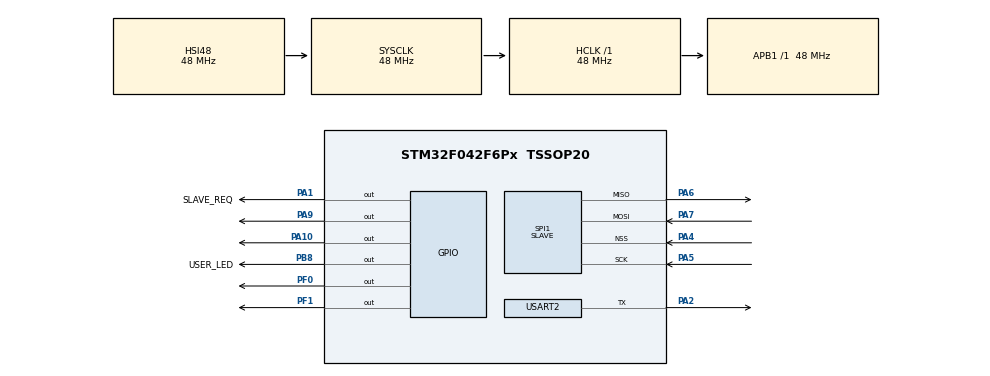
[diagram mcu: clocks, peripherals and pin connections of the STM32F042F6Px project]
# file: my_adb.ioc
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Mcu.Family=STM32F0
Mcu.Name=STM32F042F6Px
Mcu.Package=TSSOP20
NVIC.SPI1_IRQn=true\:0\:0\:false\:false\:true\:true
NVIC.TIM16_IRQn=true\:0\:0\:false\:false\:true\:true
NVIC.TIM17_IRQn=true\:3\:0\:true\:false\:true\:true
PA1.GPIO_Label=SLAVE_REQ
PA1.GPIO_ModeDefaultOutputPP=GPIO_MODE_OUTPUT_PP
PA1.Signal=GPIO_Output
PA10.Signal=GPIO_Output
PA13.Mode=Serial_Wire
PA13.Signal=SYS_SWDIO
PA14.Mode=Serial_Wire
PA14.Signal=SYS_SWCLK
PA2.Mode=Half_duplex(single_wire_mode)
PA2.Signal=USART2_TX
PA4.Mode=NSS_Signal_Hard_Input
PA4.Signal=SPI1_NSS
PA5.Mode=Full_Duplex_Slave
PA5.Signal=SPI1_SCK
PA6.Mode=Full_Duplex_Slave
PA6.Signal=SPI1_MISO
PA7.Mode=Full_Duplex_Slave
PA7.Signal=SPI1_MOSI
PA9.Signal=GPIO_Output
PB8.GPIO_Label=USER_LED
PB8.Signal=GPIO_Output
PF0-OSC_IN.Signal=GPIO_Output
PF1-OSC_OUT.Signal=GPIO_Output
ProjectManager.HeapSize=0x200
ProjectManager.StackSize=0x400
ProjectManager.TargetToolchain=MDK-ARM V5
RCC.AHBFreq_Value=48000000
RCC.APB1Freq_Value=48000000
RCC.APB1TimFreq_Value=48000000
RCC.HCLKFreq_Value=48000000
RCC.I2c1ClockSelection=RCC_I2C1CLKSOURCE_SYSCLK
RCC.SYSCLKFreq_VALUE=48000000
RCC.SYSCLKSource=RCC_SYSCLKSOURCE_HSI48
SPI1.DataSize=SPI_DATASIZE_8BIT
SPI1.Direction=SPI_DIRECTION_2LINES
SPI1.Mode=SPI_MODE_SLAVE
SPI1.VirtualNSS=VM_NSSHARD
SPI1.VirtualType=VM_SLAVE
TIM16.AutoReloadPreload=TIM_AUTORELOAD_PRELOAD_ENABLE
TIM16.Period=65535
TIM16.Prescaler=47
TIM17.Period=10000
TIM17.Prescaler=47
TIM2.Period=4294967295
TIM2.Prescaler=47
USART2.BaudRate=115200
USART2.Mode=MODE_TX
USART2.VirtualMode-Half_duplex(single_wire_mode)=VM_ASYNC
VP_TIM16_VS_ClockSourceINT.Mode=Enable_Timer
VP_TIM17_VS_ClockSourceINT.Mode=Enable_Timer
VP_TIM2_VS_ClockSourceINT.Mode=Internal
board=custom

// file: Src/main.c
/**
  ******************************************************************************
  * @file           : main.c
  * @brief          : Main program body
  ******************************************************************************
  ** This notice applies to any and all portions of this file
  * that are not between comment pairs USER CODE BEGIN and
  * USER CODE END. Other portions of this file, whether
  * inserted by the user or by software development tools
  * are owned by their respective copyright owners.
  *
  * COPYRIGHT(c) 2022 STMicroelectronics
  *
  * Redistribution and use in source and binary forms, with or without modification,
  * are permitted provided that the following conditions are met:
  *   1. Redistributions of source code must retain the above copyright notice,
  *      this list of conditions and the following disclaimer.
  *   2. Redistributions in binary form must reproduce the above copyright notice,
  *      this list of conditions and the following disclaimer in the documentation
  *      and/or other materials provided with the distribution.
  *   3. Neither the name of STMicroelectronics nor the names of its contributors
  *      may be used to endorse or promote products derived from this software
  *      without specific prior written permission.
  *
  * THIS SOFTWARE IS PROVIDED BY THE COPYRIGHT HOLDERS AND CONTRIBUTORS "AS IS"
  * AND ANY EXPRESS OR IMPLIED WARRANTIES, INCLUDING, BUT NOT LIMITED TO, THE
  * IMPLIED WARRANTIES OF MERCHANTABILITY AND FITNESS FOR A PARTICULAR PURPOSE ARE
  * DISCLAIMED. IN NO EVENT SHALL THE COPYRIGHT HOLDER OR CONTRIBUTORS BE LIABLE
  * FOR ANY DIRECT, INDIRECT, INCIDENTAL, SPECIAL, EXEMPLARY, OR CONSEQUENTIAL
  * DAMAGES (INCLUDING, BUT NOT LIMITED TO, PROCUREMENT OF SUBSTITUTE GOODS OR
  * SERVICES; LOSS OF USE, DATA, OR PROFITS; OR BUSINESS INTERRUPTION) HOWEVER
  * CAUSED AND ON ANY THEORY OF LIABILITY, WHETHER IN CONTRACT, STRICT LIABILITY,
  * OR TORT (INCLUDING NEGLIGENCE OR OTHERWISE) ARISING IN ANY WAY OUT OF THE USE
  * OF THIS SOFTWARE, EVEN IF ADVISED OF THE POSSIBILITY OF SUCH DAMAGE.
  *
  ******************************************************************************
  */
#include "main.h"
#include "stm32f0xx_hal.h"

/* USER CODE BEGIN Includes */
#include <string.h>
#include <stdlib.h>
#include "delay_us.h"
#include "shared.h"
#include "helpers.h"
#include "quad_encoder.h"

#define PROTOCOL_STATUS_NOT_AVAILABLE 0
#define PROTOCOL_STATUS_ENABLED 1
#define PROTOCOL_STATUS_DISABLED 2
#define PROTOCOL_LOOKUP_SIZE 16

#define IS_ADB_HOST_PRESENT() HAL_GPIO_ReadPin(ADB_5V_DET_GPIO_Port, ADB_5V_DET_Pin)

/* USER CODE END Includes */

SPI_HandleTypeDef hspi1;

TIM_HandleTypeDef htim2;
TIM_HandleTypeDef htim16;
TIM_HandleTypeDef htim17;

UART_HandleTypeDef huart2;

/* USER CODE BEGIN PV */
/* Private variables ---------------------------------------------------------*/
const uint8_t board_id = 2;
const uint8_t version_major = 0;
const uint8_t version_minor = 1;
const uint8_t version_patch = 1;
uint8_t hw_revision = 0;

uint8_t spi_transmit_buf[SPI_BUF_SIZE];
uint8_t spi_recv_buf[SPI_BUF_SIZE];
kb_buf my_kb_buf;
mouse_buf my_mouse_buf;
mouse_event latest_mouse_event;
uint8_t spi_error_occured;
uint8_t protocol_status_lookup[PROTOCOL_LOOKUP_SIZE];

/* USER CODE END PV */

void SystemClock_Config(void);
static void MX_GPIO_Init(void);
static void MX_SPI1_Init(void);
static void MX_USART2_UART_Init(void);
static void MX_TIM2_Init(void);
static void MX_TIM17_Init(void);
static void MX_TIM16_Init(void);

/* USER CODE BEGIN PFP */
/* Private function prototypes -----------------------------------------------*/

/* USER CODE END PFP */

/* USER CODE BEGIN 0 */
int fputc(int ch, FILE *f)
{
    HAL_UART_Transmit(&huart2, (unsigned char *)&ch, 1, 10);
    return ch;
}

uint8_t is_protocol_enabled(uint8_t this_protocol)
{
  if(this_protocol >= PROTOCOL_LOOKUP_SIZE)
    return 0;
  return protocol_status_lookup[this_protocol] == PROTOCOL_STATUS_ENABLED;
}

int16_t byte_to_int16_t(uint8_t lsb, uint8_t msb)
{
  return (int16_t)((msb << 8) | lsb);
}

void handle_protocol_switch(uint8_t spi_byte)
{
  uint8_t index = spi_byte & 0x7f;
  uint8_t onoff = spi_byte & 0x80;

  if(index >= PROTOCOL_LOOKUP_SIZE)
    return;
  // trying to change a protocol that is not available on this board
  if(protocol_status_lookup[index] == PROTOCOL_STATUS_NOT_AVAILABLE)
    return;
  // switching protocol ON
  if(onoff && protocol_status_lookup[index] == PROTOCOL_STATUS_DISABLED)
  {
    switch(index)
    {
      case PROTOCOL_ADB_KB:
        kb_buf_reset(&my_kb_buf);
        break;
      case PROTOCOL_ADB_MOUSE:
        mouse_buf_reset(&my_mouse_buf);
        break;
    }
    protocol_status_lookup[index] = PROTOCOL_STATUS_ENABLED;
  }
  // switching protocol OFF
  else if((onoff == 0) && protocol_status_lookup[index] == PROTOCOL_STATUS_ENABLED)
    protocol_status_lookup[index] = PROTOCOL_STATUS_DISABLED;
}

void parse_spi_buf(uint8_t* spibuf)
{
  if(spibuf[SPI_BUF_INDEX_MSG_TYPE] == SPI_MOSI_MSG_TYPE_MOUSE_EVENT)
  {
    latest_mouse_event.movement_x = byte_to_int16_t(spibuf[4], spibuf[5]);
    latest_mouse_event.movement_y = 1 * byte_to_int16_t(spibuf[6], spibuf[7]);
    latest_mouse_event.scroll_vertical = -1 * spibuf[8];
    latest_mouse_event.button_left = spibuf[13];
    latest_mouse_event.button_right = spibuf[14];
    latest_mouse_event.button_middle = spibuf[15];
    latest_mouse_event.button_side = spibuf[16];
    latest_mouse_event.button_extra = spibuf[17];
    mouse_buf_add(&my_mouse_buf, &latest_mouse_event);
  }
  else if(spibuf[SPI_BUF_INDEX_MSG_TYPE] == SPI_MOSI_MSG_TYPE_KEYBOARD_EVENT)
  {
    kb_buf_add(&my_kb_buf, spibuf[4], spibuf[6]);
  }
  else if(spibuf[SPI_BUF_INDEX_MSG_TYPE] == SPI_MOSI_MSG_TYPE_INFO_REQUEST)
  {
    memset(spi_transmit_buf, 0, SPI_BUF_SIZE);
    spi_transmit_buf[SPI_BUF_INDEX_MAGIC] = SPI_MISO_MAGIC;
    spi_transmit_buf[SPI_BUF_INDEX_SEQNUM] = spibuf[SPI_BUF_INDEX_SEQNUM];
    spi_transmit_buf[SPI_BUF_INDEX_MSG_TYPE] = SPI_MISO_MSG_TYPE_INFO_REQUEST;
    spi_transmit_buf[3] = board_id;
    spi_transmit_buf[4] = hw_revision;
    spi_transmit_buf[5] = version_major;
    spi_transmit_buf[6] = version_minor;
    spi_transmit_buf[7] = version_patch;
    uint8_t curr_index = 8;
    for (int i = 0; i < PROTOCOL_LOOKUP_SIZE; i++)
    {
      if(protocol_status_lookup[i] == PROTOCOL_STATUS_NOT_AVAILABLE)
        continue;
      else if(protocol_status_lookup[i] == PROTOCOL_STATUS_DISABLED)
        spi_transmit_buf[curr_index] = i;
      else if(protocol_status_lookup[i] == PROTOCOL_STATUS_ENABLED)
        spi_transmit_buf[curr_index] = i | 0x80;
      curr_index++;
    }
  }
  else if(spibuf[SPI_BUF_INDEX_MSG_TYPE] == SPI_MOSI_MSG_TYPE_SET_PROTOCOL)
  {
    for (int i = 3; i < SPI_BUF_SIZE; ++i)
    {
      if(spibuf[i] == 0)
        break;
      handle_protocol_switch(spibuf[i]);
    }
  }
}

/*
  a full rundown of this ISR takes around 30us, so if it comes in
  while reading or writing ADB message, it will mess up the timing

  solution: cache the data and return immediately, only takes around 6us,
  then process the data in main loop.
*/
void HAL_SPI_TxRxCpltCallback(SPI_HandleTypeDef *hspi)
{
  HAL_GPIO_WritePin(USER_LED_GPIO_Port, USER_LED_Pin, GPIO_PIN_SET);
  if(spi_recv_buf[0] != 0xde)
    spi_error_occured = 1;
  parse_spi_buf(spi_recv_buf);
  if(spi_recv_buf[SPI_BUF_INDEX_MSG_TYPE] == SPI_MOSI_MSG_TYPE_REQ_ACK)
    HAL_GPIO_WritePin(SLAVE_REQ_GPIO_Port, SLAVE_REQ_Pin, GPIO_PIN_RESET);
  HAL_SPI_TransmitReceive_IT(&hspi1, spi_transmit_buf, spi_recv_buf, SPI_BUF_SIZE);
  HAL_GPIO_WritePin(USER_LED_GPIO_Port, USER_LED_Pin, GPIO_PIN_RESET);
}

void spi_error_dump_reboot(void)
{
  printf("SPI ERROR\n");
  for (int i = 0; i < SPI_BUF_SIZE; ++i)
    printf("%d ", spi_recv_buf[i]);
  printf("\nrebooting...\n");
  for (int i = 0; i < 100; ++i)
  {
    HAL_GPIO_TogglePin(USER_LED_GPIO_Port, USER_LED_Pin);
    HAL_Delay(100);
  }
  NVIC_SystemReset();
}

const char boot_message[] = "USB4VC Protocol Board\nQuad encoder test\ndekuNukem 2022";

void protocol_status_lookup_init(void)
{
  memset(protocol_status_lookup, PROTOCOL_STATUS_NOT_AVAILABLE, PROTOCOL_LOOKUP_SIZE);
  protocol_status_lookup[PROTOCOL_ADB_KB] = PROTOCOL_STATUS_ENABLED;
  protocol_status_lookup[PROTOCOL_ADB_MOUSE] = PROTOCOL_STATUS_ENABLED;
}

uint8_t int16_to_uint6(int16_t value)
{
  if(abs(value) <= 3)
    return (uint8_t)value;
  value = value >> 1;
  if(value >= 63)
    value = 63;
  if(value <= -63)
    value = -63;
  return (uint8_t)value;
}

#define AVG_BUF_SIZE 8
int16_t avg_buf[AVG_BUF_SIZE];
uint8_t avg_buf_index;

void avg_buf_add(int16_t value)
{
  avg_buf[avg_buf_index] = value;
  avg_buf_index++;
  if (avg_buf_index >= AVG_BUF_SIZE)
    avg_buf_index = 0;
}

int32_t get_buf_avg(void)
{
  int32_t sum = 0;
  for (int i = 0; i < AVG_BUF_SIZE; ++i)
    sum += avg_buf[i];
  if (sum > 0 && sum < AVG_BUF_SIZE)
    sum = AVG_BUF_SIZE;
  else if (sum < 0 && abs(sum) < AVG_BUF_SIZE)
    sum = AVG_BUF_SIZE * -1;
  return (int32_t)(sum/AVG_BUF_SIZE);
}

/*
each speed has a corresponding duration before the next increment or decrement

make sure to enable autoreload preload to prevent glitches
*/

uint16_t calc_arr(int32_t speed_val)
{
  speed_val = abs(speed_val);
  if(speed_val <= 0)
    return 65535;
  if(speed_val >= 64)
    return 500;
  return (uint16_t)(-190*speed_val + 12690); // 1, 12500 | 64, 500
}

quad_output quad_x;
int32_t avg_speed;

/*
  this gets called every 10ms, fetches mouse event and put them into a running buffer
  a window average is calculated, used to adjust the timer autoreload register
*/
void HAL_TIM_PeriodElapsedCallback(TIM_HandleTypeDef *htim)
{
  if(htim == &htim17)
  {
    HAL_GPIO_TogglePin(GPIOA, GPIO_PIN_9);
    mouse_event* this_mouse_event = mouse_buf_peek(&my_mouse_buf);
    if(this_mouse_event == NULL)
    {
      avg_buf_add(0);
    }
    else
    {
      avg_buf_add(this_mouse_event->movement_x);
      mouse_buf_pop(&my_mouse_buf);
    }
    avg_speed = get_buf_avg();
    htim16.Instance->ARR = calc_arr(avg_speed);
  }
  if(htim == &htim16 && avg_speed != 0)
  {
    HAL_GPIO_TogglePin(GPIOA, GPIO_PIN_10);
    if(avg_speed > 0)
      quad_increment(&quad_x);
    else
      quad_decrement(&quad_x);
  }
}

/* USER CODE END 0 */

int main(void)
{

  /* MCU Configuration----------------------------------------------------------*/

  /* Reset of all peripherals, Initializes the Flash interface and the Systick. */
  HAL_Init();

  /* Configure the system clock */
  SystemClock_Config();

  /* Initialize all configured peripherals */
  MX_GPIO_Init();
  MX_SPI1_Init();
  MX_USART2_UART_Init();
  MX_TIM2_Init();
  MX_TIM17_Init();
  MX_TIM16_Init();
  /* USER CODE BEGIN 2 */
  printf("%s\nrev%d v%d.%d.%d\n", boot_message, hw_revision, version_major, version_minor, version_patch);
  delay_us_init(&htim2);
  protocol_status_lookup_init();
  kb_buf_init(&my_kb_buf, 16);
  mouse_buf_init(&my_mouse_buf, 16);
  memset(spi_transmit_buf, 0, SPI_BUF_SIZE);
  HAL_SPI_TransmitReceive_IT(&hspi1, spi_transmit_buf, spi_recv_buf, SPI_BUF_SIZE);
  /*
    instead of all at once, we remove data from buffer
    at a regular interval, say 5ms, if empty, then theres no movement
    then every 50ms for example the average movement is calculated
    and that is used to update quad encoder?
  */
  quad_init(&quad_x, GPIOF, GPIO_PIN_0, GPIOF, GPIO_PIN_1);
  HAL_TIM_Base_Start_IT(&htim17);
  HAL_TIM_Base_Start_IT(&htim16);
  /* USER CODE END 2 */

  /* Infinite loop */
  /* USER CODE BEGIN WHILE */
  for (int i = -64; i < 64; ++i)
    printf("%d %d\n", i, calc_arr(i));
  while (1)
  {
    if(spi_error_occured)
      spi_error_dump_reboot();

    // printf("%d\n", get_buf_avg());
    // quad_decrement(&quad_x);
    HAL_Delay(50);

  /* USER CODE END WHILE */

  }

}

void SystemClock_Config(void)
{

  RCC_OscInitTypeDef RCC_OscInitStruct;
  RCC_ClkInitTypeDef RCC_ClkInitStruct;

    /**Initializes the CPU, AHB and APB busses clocks
    */
  RCC_OscInitStruct.OscillatorType = RCC_OSCILLATORTYPE_HSI48;
  RCC_OscInitStruct.HSI48State = RCC_HSI48_ON;
  RCC_OscInitStruct.PLL.PLLState = RCC_PLL_NONE;
  if (HAL_RCC_OscConfig(&RCC_OscInitStruct) != HAL_OK)
  {
    _Error_Handler(__FILE__, __LINE__);
  }

    /**Initializes the CPU, AHB and APB busses clocks
    */
  RCC_ClkInitStruct.ClockType = RCC_CLOCKTYPE_HCLK|RCC_CLOCKTYPE_SYSCLK
                              |RCC_CLOCKTYPE_PCLK1;
  RCC_ClkInitStruct.SYSCLKSource = RCC_SYSCLKSOURCE_HSI48;
  RCC_ClkInitStruct.AHBCLKDivider = RCC_SYSCLK_DIV1;
  RCC_ClkInitStruct.APB1CLKDivider = RCC_HCLK_DIV1;

  if (HAL_RCC_ClockConfig(&RCC_ClkInitStruct, FLASH_LATENCY_1) != HAL_OK)
  {
    _Error_Handler(__FILE__, __LINE__);
  }

    /**Configure the Systick interrupt time
    */
  HAL_SYSTICK_Config(HAL_RCC_GetHCLKFreq()/1000);

    /**Configure the Systick
    */
  HAL_SYSTICK_CLKSourceConfig(SYSTICK_CLKSOURCE_HCLK);

  /* SysTick_IRQn interrupt configuration */
  HAL_NVIC_SetPriority(SysTick_IRQn, 0, 0);
}

/* SPI1 init function */
static void MX_SPI1_Init(void)
{

  /* SPI1 parameter configuration*/
  hspi1.Instance = SPI1;
  hspi1.Init.Mode = SPI_MODE_SLAVE;
  hspi1.Init.Direction = SPI_DIRECTION_2LINES;
  hspi1.Init.DataSize = SPI_DATASIZE_8BIT;
  hspi1.Init.CLKPolarity = SPI_POLARITY_LOW;
  hspi1.Init.CLKPhase = SPI_PHASE_1EDGE;
  hspi1.Init.NSS = SPI_NSS_HARD_INPUT;
  hspi1.Init.FirstBit = SPI_FIRSTBIT_MSB;
  hspi1.Init.TIMode = SPI_TIMODE_DISABLE;
  hspi1.Init.CRCCalculation = SPI_CRCCALCULATION_DISABLE;
  hspi1.Init.CRCPolynomial = 7;
  hspi1.Init.CRCLength = SPI_CRC_LENGTH_DATASIZE;
  hspi1.Init.NSSPMode = SPI_NSS_PULSE_DISABLE;
  if (HAL_SPI_Init(&hspi1) != HAL_OK)
  {
    _Error_Handler(__FILE__, __LINE__);
  }

}

/* TIM2 init function */
static void MX_TIM2_Init(void)
{

  TIM_ClockConfigTypeDef sClockSourceConfig;
  TIM_MasterConfigTypeDef sMasterConfig;

  htim2.Instance = TIM2;
  htim2.Init.Prescaler = 47;
  htim2.Init.CounterMode = TIM_COUNTERMODE_UP;
  htim2.Init.Period = 4294967295;
  htim2.Init.ClockDivision = TIM_CLOCKDIVISION_DIV1;
  htim2.Init.AutoReloadPreload = TIM_AUTORELOAD_PRELOAD_DISABLE;
  if (HAL_TIM_Base_Init(&htim2) != HAL_OK)
  {
    _Error_Handler(__FILE__, __LINE__);
  }

  sClockSourceConfig.ClockSource = TIM_CLOCKSOURCE_INTERNAL;
  if (HAL_TIM_ConfigClockSource(&htim2, &sClockSourceConfig) != HAL_OK)
  {
    _Error_Handler(__FILE__, __LINE__);
  }

  sMasterConfig.MasterOutputTrigger = TIM_TRGO_RESET;
  sMasterConfig.MasterSlaveMode = TIM_MASTERSLAVEMODE_DISABLE;
  if (HAL_TIMEx_MasterConfigSynchronization(&htim2, &sMasterConfig) != HAL_OK)
  {
    _Error_Handler(__FILE__, __LINE__);
  }

}

/* TIM16 init function */
static void MX_TIM16_Init(void)
{

  htim16.Instance = TIM16;
  htim16.Init.Prescaler = 47;
  htim16.Init.CounterMode = TIM_COUNTERMODE_UP;
  htim16.Init.Period = 65535;
  htim16.Init.ClockDivision = TIM_CLOCKDIVISION_DIV1;
  htim16.Init.RepetitionCounter = 0;
  htim16.Init.AutoReloadPreload = TIM_AUTORELOAD_PRELOAD_ENABLE;
  if (HAL_TIM_Base_Init(&htim16) != HAL_OK)
  {
    _Error_Handler(__FILE__, __LINE__);
  }

}

/* TIM17 init function */
static void MX_TIM17_Init(void)
{

  htim17.Instance = TIM17;
  htim17.Init.Prescaler = 47;
  htim17.Init.CounterMode = TIM_COUNTERMODE_UP;
  htim17.Init.Period = 10000;
  htim17.Init.ClockDivision = TIM_CLOCKDIVISION_DIV1;
  htim17.Init.RepetitionCounter = 0;
  htim17.Init.AutoReloadPreload = TIM_AUTORELOAD_PRELOAD_DISABLE;
  if (HAL_TIM_Base_Init(&htim17) != HAL_OK)
  {
    _Error_Handler(__FILE__, __LINE__);
  }

}

/* USART2 init function */
static void MX_USART2_UART_Init(void)
{

  huart2.Instance = USART2;
  huart2.Init.BaudRate = 115200;
  huart2.Init.WordLength = UART_WORDLENGTH_8B;
  huart2.Init.StopBits = UART_STOPBITS_1;
  huart2.Init.Parity = UART_PARITY_NONE;
  huart2.Init.Mode = UART_MODE_TX;
  huart2.Init.HwFlowCtl = UART_HWCONTROL_NONE;
  huart2.Init.OverSampling = UART_OVERSAMPLING_16;
  huart2.Init.OneBitSampling = UART_ONE_BIT_SAMPLE_DISABLE;
  huart2.AdvancedInit.AdvFeatureInit = UART_ADVFEATURE_NO_INIT;
  if (HAL_HalfDuplex_Init(&huart2) != HAL_OK)
  {
    _Error_Handler(__FILE__, __LINE__);
  }

}

/** Configure pins as
        * Analog
        * Input
        * Output
        * EVENT_OUT
        * EXTI
*/
static void MX_GPIO_Init(void)
{

  GPIO_InitTypeDef GPIO_InitStruct;

  /* GPIO Ports Clock Enable */
  __HAL_RCC_GPIOB_CLK_ENABLE();
  __HAL_RCC_GPIOF_CLK_ENABLE();
  __HAL_RCC_GPIOA_CLK_ENABLE();

  /*Configure GPIO pin Output Level */
  HAL_GPIO_WritePin(USER_LED_GPIO_Port, USER_LED_Pin, GPIO_PIN_RESET);

  /*Configure GPIO pin Output Level */
  HAL_GPIO_WritePin(GPIOF, GPIO_PIN_0|GPIO_PIN_1, GPIO_PIN_RESET);

  /*Configure GPIO pin Output Level */
  HAL_GPIO_WritePin(GPIOA, SLAVE_REQ_Pin|GPIO_PIN_9|GPIO_PIN_10, GPIO_PIN_RESET);

  /*Configure GPIO pin : USER_LED_Pin */
  GPIO_InitStruct.Pin = USER_LED_Pin;
  GPIO_InitStruct.Mode = GPIO_MODE_OUTPUT_PP;
  GPIO_InitStruct.Pull = GPIO_NOPULL;
  GPIO_InitStruct.Speed = GPIO_SPEED_FREQ_LOW;
  HAL_GPIO_Init(USER_LED_GPIO_Port, &GPIO_InitStruct);

  /*Configure GPIO pins : PF0 PF1 */
  GPIO_InitStruct.Pin = GPIO_PIN_0|GPIO_PIN_1;
  GPIO_InitStruct.Mode = GPIO_MODE_OUTPUT_PP;
  GPIO_InitStruct.Pull = GPIO_NOPULL;
  GPIO_InitStruct.Speed = GPIO_SPEED_FREQ_LOW;
  HAL_GPIO_Init(GPIOF, &GPIO_InitStruct);

  /*Configure GPIO pins : SLAVE_REQ_Pin PA9 PA10 */
  GPIO_InitStruct.Pin = SLAVE_REQ_Pin|GPIO_PIN_9|GPIO_PIN_10;
  GPIO_InitStruct.Mode = GPIO_MODE_OUTPUT_PP;
  GPIO_InitStruct.Pull = GPIO_NOPULL;
  GPIO_InitStruct.Speed = GPIO_SPEED_FREQ_LOW;
  HAL_GPIO_Init(GPIOA, &GPIO_InitStruct);

}

void _Error_Handler(char *file, int line)
{
  while(1)
  {
  }
}

/************************ (C) COPYRIGHT STMicroelectronics *****END OF FILE****/
